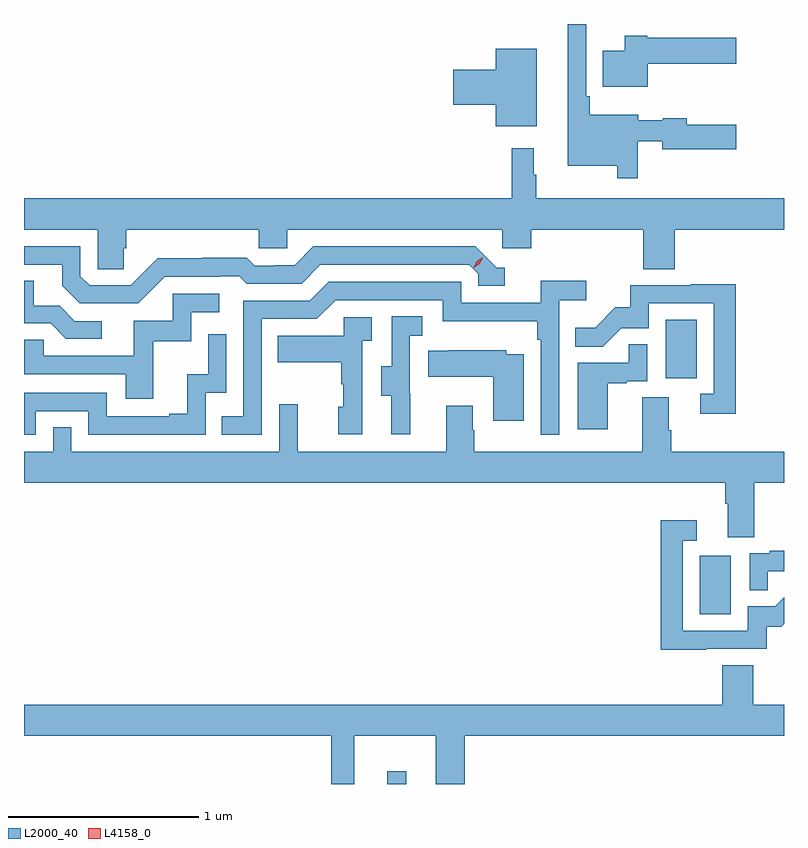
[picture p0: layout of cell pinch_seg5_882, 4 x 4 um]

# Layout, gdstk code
import gdstk
lib = gdstk.Library(unit=1e-6, precision=1e-09)
def R(c, l, rs):  # rectangles x0, y0, x1, y1
    for r in rs: c.add(gdstk.rectangle(r[:2], r[2:], *l))
def P(c, l, *ps):  # polygons
    for p in ps: c.add(gdstk.Polygon(p, *l))
L2000_40 = (2000, 40)
L4158_0 = (4158, 0)

pinch_seg5_882 = lib.new_cell('pinch_seg5_882')
R(pinch_seg5_882, L2000_40, [(862.976,881.814,863.074,881.881), (864.62,882.708,864.784,883.015), (864.44,883.95,864.604,884.257)])
P(pinch_seg5_882, L2000_40, [(864.294,885.198),(864.422,885.198),(864.422,885.155),(864.811,885.155),(864.811,885.285),(864.55,885.285),(864.55,885.319),(864.426,885.319),(864.426,885.307),(864.295,885.307),(864.295,885.337),(864.041,885.337),(864.041,885.433),(864.021,885.433),(864.021,885.814),(863.924,885.814),(863.924,885.068),(864.186,885.068),(864.186,885.003),(864.294,885.003)],
  [(864.346,885.604),(864.811,885.604),(864.811,885.741),(864.342,885.741),(864.342,885.751),(864.224,885.751),(864.224,885.673),(864.11,885.673),(864.11,885.485),(864.346,885.485)],
  [(863.761,885.685),(863.546,885.685),(863.546,885.572),(863.322,885.572),(863.322,885.389),(863.546,885.389),(863.546,885.275),(863.761,885.275)],
  [(861.587,884.634),(861.602,884.634),(861.602,884.732),(862.299,884.732),(862.299,884.634),(862.449,884.634),(862.449,884.732),(863.58,884.732),(863.58,884.634),(863.732,884.634),(863.732,884.732),(864.323,884.732),(864.323,884.524),(864.488,884.524),(864.488,884.732),(865.063,884.732),(865.063,884.896),(863.758,884.896),(863.758,885.02),(863.746,885.02),(863.746,885.16),(863.629,885.16),(863.629,884.896),(861.063,884.896),(861.063,884.732),(861.45,884.732),(861.45,884.524),(861.587,884.524)],
  [(861.804,884.484),(862.097,884.484),(862.097,884.487),(862.196,884.487),(862.235,884.448),(862.524,884.448),(862.623,884.547),(863.406,884.547),(863.454,884.499),(863.454,884.436),(863.593,884.436),(863.593,884.532),(863.55,884.532),(863.439,884.643),(862.586,884.643),(862.487,884.544),(862.38,884.544),(862.38,884.541),(862.277,884.541),(862.235,884.584),(862.002,884.584),(862.002,884.581),(861.766,884.581),(861.624,884.439),(861.408,884.439),(861.36,884.487),(861.36,884.643),(861.063,884.643),(861.063,884.547),(861.263,884.547),(861.263,884.437),(861.357,884.343),(861.663,884.343)],
  [(861.472,884.25),(861.33,884.25),(861.25,884.33),(861.115,884.33),(861.115,884.462),(861.063,884.462),(861.063,884.238),(861.203,884.238),(861.284,884.157),(861.472,884.157)],
  [(862.314,884.262),(862.605,884.262),(862.704,884.361),(863.268,884.361),(863.268,884.249),(863.764,884.249),(863.764,884.153),(863.784,884.153),(863.784,883.653),(863.88,883.653),(863.88,884.36),(864.022,884.36),(864.022,884.462),(863.783,884.462),(863.783,884.346),(863.364,884.346),(863.364,884.457),(862.667,884.457),(862.568,884.358),(862.218,884.358),(862.218,883.749),(862.105,883.749),(862.105,883.653),(862.314,883.653)],
  [(864.809,884.444),(864.571,884.444),(864.571,884.439),(864.253,884.439),(864.253,884.322),(864.176,884.322),(864.069,884.215),(863.965,884.215),(863.965,884.116),(864.109,884.116),(864.207,884.214),(864.351,884.214),(864.351,884.343),(864.693,884.343),(864.693,883.869),(864.621,883.869),(864.621,883.764),(864.809,883.764)],
  [(861.743,884.145),(861.942,884.145),(861.942,884.298),(862.09,884.298),(862.09,884.394),(861.846,884.394),(861.846,884.253),(861.641,884.253),(861.641,884.067),(861.167,884.067),(861.167,884.151),(861.063,884.151),(861.063,883.971),(861.599,883.971),(861.599,883.842),(861.743,883.842)],
  [(863.096,883.869),(863.094,883.869),(863.094,884.173),(863.158,884.173),(863.158,884.276),(862.998,884.276),(862.998,884.013),(862.943,884.013),(862.943,883.858),(862.997,883.858),(862.997,883.656),(863.096,883.656)],
  [(862.842,884.147),(862.894,884.147),(862.894,884.271),(862.746,884.271),(862.746,884.173),(862.399,884.173),(862.399,884.033),(862.734,884.033),(862.734,883.919),(862.744,883.919),(862.744,883.8),(862.718,883.8),(862.718,883.656),(862.842,883.656)],
  [(861.126,883.776),(861.402,883.776),(861.402,883.653),(862.02,883.653),(862.02,883.872),(862.128,883.872),(862.128,884.182),(862.032,884.182),(862.032,883.97),(861.923,883.97),(861.923,883.762),(861.827,883.762),(861.827,883.749),(861.498,883.749),(861.498,883.872),(861.063,883.872),(861.063,883.653),(861.126,883.653)],
  [(864.136,883.923),(864.236,883.923),(864.236,883.935),(864.342,883.935),(864.342,884.129),(864.247,884.129),(864.247,884.031),(863.978,884.031),(863.978,883.68),(864.136,883.68)],
  [(863.692,884.077),(863.601,884.077),(863.601,884.098),(863.299,884.098),(863.299,884.095),(863.191,884.095),(863.191,883.958),(863.534,883.958),(863.534,883.725),(863.692,883.725)],
  [(864.907,883.4),(865.063,883.4),(865.063,883.564),(864.47,883.564),(864.47,883.676),(864.457,883.676),(864.457,883.85),(864.317,883.85),(864.317,883.564),(863.433,883.564),(863.433,883.676),(863.425,883.676),(863.425,883.804),(863.285,883.804),(863.285,883.564),(862.505,883.564),(862.505,883.813),(862.407,883.813),(862.407,883.564),(861.312,883.564),(861.312,883.691),(861.216,883.691),(861.216,883.564),(861.063,883.564),(861.063,883.4),(864.755,883.4),(864.755,883.288),(864.767,883.288),(864.767,883.114),(864.907,883.114)],
  [(864.653,882.525),(864.972,882.525),(864.972,882.642),(865.048,882.642),(865.063,882.657),(865.063,882.796),(865.017,882.75),(864.873,882.75),(864.873,882.621),(864.531,882.621),(864.531,883.095),(864.604,883.095),(864.604,883.201),(864.415,883.201),(864.415,882.52),(864.653,882.52)],
  [(864.977,882.933),(865.063,882.933),(865.063,883.042),(864.989,883.042),(864.989,883.029),(864.882,883.029),(864.882,882.835),(864.977,882.835)],
  [(862.801,882.068),(863.231,882.068),(863.231,881.814),(863.384,881.814),(863.384,882.068),(865.063,882.068),(865.063,882.232),(864.902,882.232),(864.902,882.44),(864.737,882.44),(864.737,882.232),(861.063,882.232),(861.063,882.068),(862.68,882.068),(862.68,881.814),(862.801,881.814)])
P(pinch_seg5_882, L4158_0, [(863.431,884.532),(863.431,884.533),(863.446,884.565),(863.476,884.585),(863.477,884.585),(863.477,884.585),(863.461,884.552),(863.431,884.532)])

lib.write_gds('pinch_seg5_882.gds')
